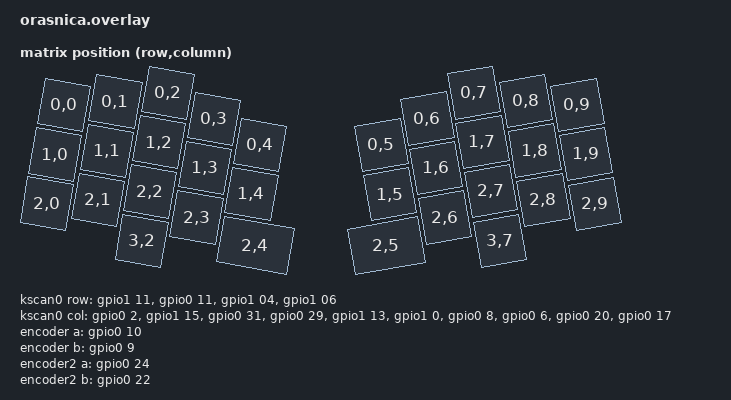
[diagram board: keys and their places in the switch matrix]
#include <dt-bindings/zmk/matrix_transform.h>
#include <physical_layouts.dtsi>

/ {
    chosen {
        zmk,physical-layout = &physical_layout0;
    };

    physical_layout0: physical_layout_0 {
        compatible = "zmk,physical-layout";
        display-name = "Default Layout";
        kscan = <&kscan0>;
        transform = <&default_transform>;
	keys  //                      w   h x y rot rx ry
        = <&key_physical_attrs 100 100    0   60    1000     0    10>
        , <&key_physical_attrs 100 100  100   35    1000     0    10>
        , <&key_physical_attrs 100 100  200    0    1000     0    10>
        , <&key_physical_attrs 100 100  300   35    1000     0    10>
        , <&key_physical_attrs 100 100  400   70    1000     0    10>
        , <&key_physical_attrs 100 100  600  157 (-1000)   600   107>
        , <&key_physical_attrs 100 100  700  121 (-1000)   600   107>
        , <&key_physical_attrs 100 100  800   86 (-1000)   600   107>
        , <&key_physical_attrs 100 100  900  121 (-1000)   600   107>
        , <&key_physical_attrs 100 100 1000  146 (-1000)   600   107>
        , <&key_physical_attrs 100 100    0  160    1000     0    10>
        , <&key_physical_attrs 100 100  100  135    1000     0    10>
        , <&key_physical_attrs 100 100  200  100    1000     0    10>
        , <&key_physical_attrs 100 100  300  135    1000     0    10>
        , <&key_physical_attrs 100 100  400  170    1000     0    10>
        , <&key_physical_attrs 100 100  600  257 (-1000)   600   107>
        , <&key_physical_attrs 100 100  700  221 (-1000)   600   107>
        , <&key_physical_attrs 100 100  800  186 (-1000)   600   107>
        , <&key_physical_attrs 100 100  900  221 (-1000)   600   107>
        , <&key_physical_attrs 100 100 1000  246 (-1000)   600   107>
        , <&key_physical_attrs 100 100    0  260    1000     0    10>
        , <&key_physical_attrs 100 100  100  235    1000     0    10>
        , <&key_physical_attrs 100 100  200  200    1000     0    10>
        , <&key_physical_attrs 100 100  300  235    1000     0    10>
        , <&key_physical_attrs 150 100  400  270    1000     0    10>
        , <&key_physical_attrs 150 100  550  357 (-1000)   600   107>
        , <&key_physical_attrs 100 100  700  322 (-1000)   600   107>
        , <&key_physical_attrs 100 100  800  286 (-1000)   600   107>
        , <&key_physical_attrs 100 100  900  322 (-1000)   600   107>
        , <&key_physical_attrs 100 100 1000  347 (-1000)   600   107>
        , <&key_physical_attrs 100 100  200  300    1000     0    10>
        , <&key_physical_attrs 100 100  800  387 (-1000)   600   107>
	    ;
    };

    default_transform: keymap_transform0 {
        compatible = "zmk,matrix-transform";
		rows = <4>;
		columns = <10>;
        map = <
			RC(0,0) RC(0,1) RC(0,2) RC(0,3) RC(0,4) RC(0,5) RC(0,6) RC(0,7) RC(0,8) RC(0,9)
			RC(1,0) RC(1,1) RC(1,2) RC(1,3) RC(1,4) RC(1,5) RC(1,6) RC(1,7) RC(1,8) RC(1,9)
			RC(2,0) RC(2,1) RC(2,2) RC(2,3) RC(2,4) RC(2,5) RC(2,6) RC(2,7) RC(2,8) RC(2,9)
			                RC(3,2)                                 RC(3,7)
        >;
    };

    kscan0: kscan0 {
        compatible = "zmk,kscan-gpio-matrix";
        diode-direction = "col2row";
        col-gpios
            = <&gpio0     2 GPIO_ACTIVE_HIGH>
            , <&gpio1    15 GPIO_ACTIVE_HIGH>
            , <&gpio0    31 GPIO_ACTIVE_HIGH>
            , <&gpio0    29 GPIO_ACTIVE_HIGH>
            , <&gpio1    13 GPIO_ACTIVE_HIGH>
            , <&gpio1     0 GPIO_ACTIVE_HIGH>
            , <&gpio0     8 GPIO_ACTIVE_HIGH>
            , <&gpio0     6 GPIO_ACTIVE_HIGH>
            , <&gpio0    20 GPIO_ACTIVE_HIGH>
            , <&gpio0    17 GPIO_ACTIVE_HIGH>
            ;
        row-gpios
            = <&gpio1    11 (GPIO_ACTIVE_HIGH | GPIO_PULL_DOWN)>
            , <&gpio0    11 (GPIO_ACTIVE_HIGH | GPIO_PULL_DOWN)>
            , <&gpio1    04 (GPIO_ACTIVE_HIGH | GPIO_PULL_DOWN)>
            , <&gpio1    06 (GPIO_ACTIVE_HIGH | GPIO_PULL_DOWN)>
            ;
    };

  encoder: encoder {
        compatible = "alps,ec11";
        label = "ENCODER";
        a-gpios = <&gpio0 10 (GPIO_ACTIVE_HIGH | GPIO_PULL_UP)>;
        b-gpios = <&gpio0  9 (GPIO_ACTIVE_HIGH | GPIO_PULL_UP)>;
        resolution = <2>;
    };

    encoder2: encoder2 {
        compatible = "alps,ec11";
        label = "ENCODER2";
        a-gpios = <&gpio0 24 (GPIO_ACTIVE_HIGH | GPIO_PULL_UP)>;
        b-gpios = <&gpio0 22 (GPIO_ACTIVE_HIGH | GPIO_PULL_UP)>;
        resolution = <2>;
    };

    sensors {
    	compatible = "zmk,keymap-sensors";
    	sensors = <
    		&encoder
    		&encoder2
    	>;
    };
};
